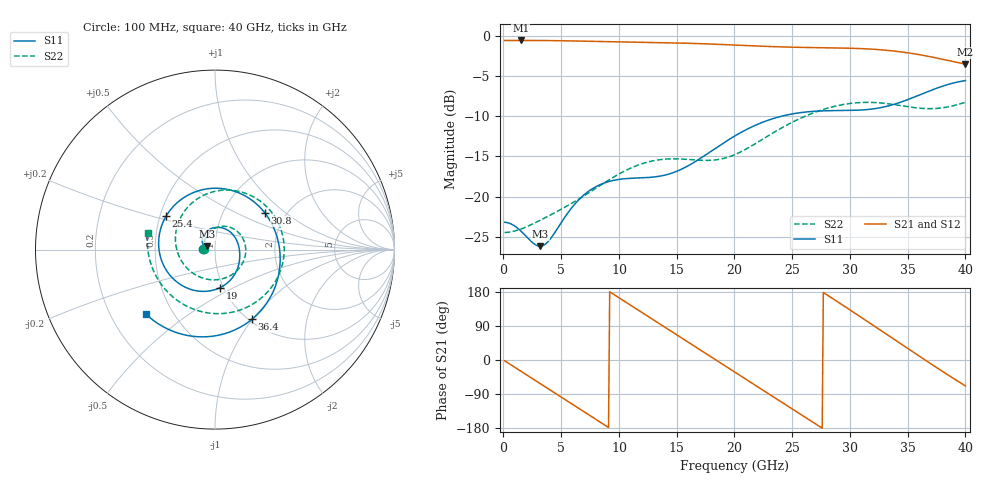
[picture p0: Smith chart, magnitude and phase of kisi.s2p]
! B_s8_L1L3_bd_d300: L1→L3, back-drilled to 0.2 mm below L3, drill Ø0.3
! stackup: 8-layer 1.6 mm FR-4 (generic)
! ports: 1, 2
! kisi-fdtd, conformal, dfine 0.0175 mm (the cell at metal ÷ 2), 1361115 cells
# Hz S RI R 50
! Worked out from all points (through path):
!   400 points, 100 MHz to 40 GHz, reference 50 ohm
!   highest |S21| = -0.57 dB at 1.5 GHz (marker M1); lowest = -3.5 dB at 40 GHz (marker M2)
!   group delay of S21, straight-line fit = 54.7 ps
!   lowest |S11| = -26.2 dB at 3.2 GHz (marker M3), VSWR 1.10, Z = 45.6 + j1.71 ohm
!   |S11| at or under -10 dB: start of sweep to 24.09 GHz
!   |S22| runs from -24.5 to -8.3 dB; largest |S21 - S12| = 0.0011
!   S11 on the Smith chart (normalised r, x): 100 MHz: 0.87, +0.00; 19 GHz: 0.96, -0.43; 25.4 GHz: 0.54, +0.23; 30.8 GHz: 1.56, +0.73; 36.4 GHz: 1.03, -0.99; 40 GHz: 0.35, -0.35
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1e8  -0.0692 0.00188  0.9359 -0.032  0.9363 -0.032  -0.0597 0.000913
1.5e9  -0.0572 0.0214  0.8163 -0.459  0.8164 -0.4594  -0.0609 0.0148
3.2e9  -0.0454 0.0187  0.4296 -0.8314  0.4292 -0.8315  -0.0608 0.0372
5e9  -0.0638 0.0257  -0.1298 -0.9236  -0.1299 -0.9233  -0.0522 0.065
6.8e9  -0.0666 0.0743  -0.6353 -0.6755  -0.6351 -0.6755  -0.033 0.0936
8.4e9  -0.0227 0.1166  -0.8884 -0.2467  -0.8883 -0.2469  -0.00226 0.1176
9.9e9  0.0411 0.1207  -0.8914 0.2175  -0.8915 0.2174  0.0432 0.1298
1.18e10  0.1064 0.0757  -0.5772 0.7069  -0.5772 0.707  0.1158 0.1078
1.34e10  0.1319 0.0199  -0.1256 0.8998  -0.1255 0.8999  0.1631 0.0446
1.49e10  0.138 -0.0357  0.3305 0.8412  0.3306 0.8412  0.1667 -0.0411
1.66e10  0.1246 -0.1079  0.733 0.5166  0.7329 0.5166  0.1057 -0.1318
1.9e10  0.0271 -0.2125  0.8644 -0.1821  0.8643 -0.182  -0.0628 -0.1603
2.01e10  -0.0575 -0.2328  0.7315 -0.4825  0.7316 -0.4824  -0.1395 -0.1187
2.28e10  -0.2771 -0.1053  0.0597 -0.8578  0.0597 -0.8579  -0.2192 0.0867
2.54e10  -0.2716 0.1879  -0.6173 -0.5829  -0.6174 -0.5828  -0.0987 0.2825
2.67e10  -0.1572 0.2997  -0.8048 -0.26  -0.8048 -0.2599  0.0183 0.3282
2.87e10  0.08 0.3331  -0.7824 0.3105  -0.7823 0.3105  0.2206 0.2905
3.08e10  0.2778 0.2045  -0.3681 0.7487  -0.3682 0.7485  0.3704 0.1025
3.34e10  0.3631 -0.0568  0.3654 0.7236  0.3653 0.7239  0.3039 -0.2236
3.64e10  0.2054 -0.3888  0.7546 0.028  0.755 0.0276  -0.1019 -0.3382
3.83e10  -0.0871 -0.4858  0.5756 -0.4127  0.575 -0.4131  -0.3234 -0.1564
4e10  -0.3869 -0.3575  0.2453 -0.62  0.2446 -0.6191  -0.3755 0.0907
